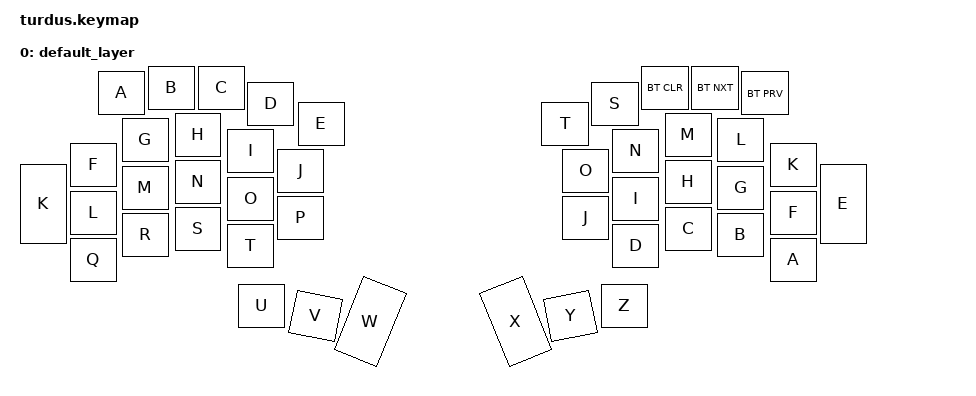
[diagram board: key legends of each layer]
#include <behaviors.dtsi>
#include <dt-bindings/zmk/keys.h>

/ {
    keymap {
        compatible = "zmk,keymap";

        default_layer { // Layer 0
            bindings = <
                  &kp A &kp B &kp C &kp D &kp E                         &kp T &kp S &bt BT_CLR &bt BT_NXT &bt BT_PRV
                  &kp F &kp G &kp H &kp I &kp J                         &kp O &kp N &kp M &kp L &kp K 
            &kp K &kp L &kp M &kp N &kp O &kp P                         &kp J &kp I &kp H &kp G &kp F &kp E 
                  &kp Q &kp R &kp S &kp T                                     &kp D &kp C &kp B &kp A 
                                    &kp U &kp V &kp W             &kp X &kp Y &kp Z 
            >;
        };

        extra_layer1 {status = "reserved";};

        extra_layer2 {status = "reserved";};

        extra_layer3 {status = "reserved";};

        extra_layer4 {status = "reserved";};

        extra_layer5 {status = "reserved";};

        extra_layer6 {status = "reserved";};

        extra_layer7 {status = "reserved";};

        extra_layer8 {status = "reserved";};

        extra_layer9 {status = "reserved";};

        extra_layer10 {status = "reserved";};
    };
 };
